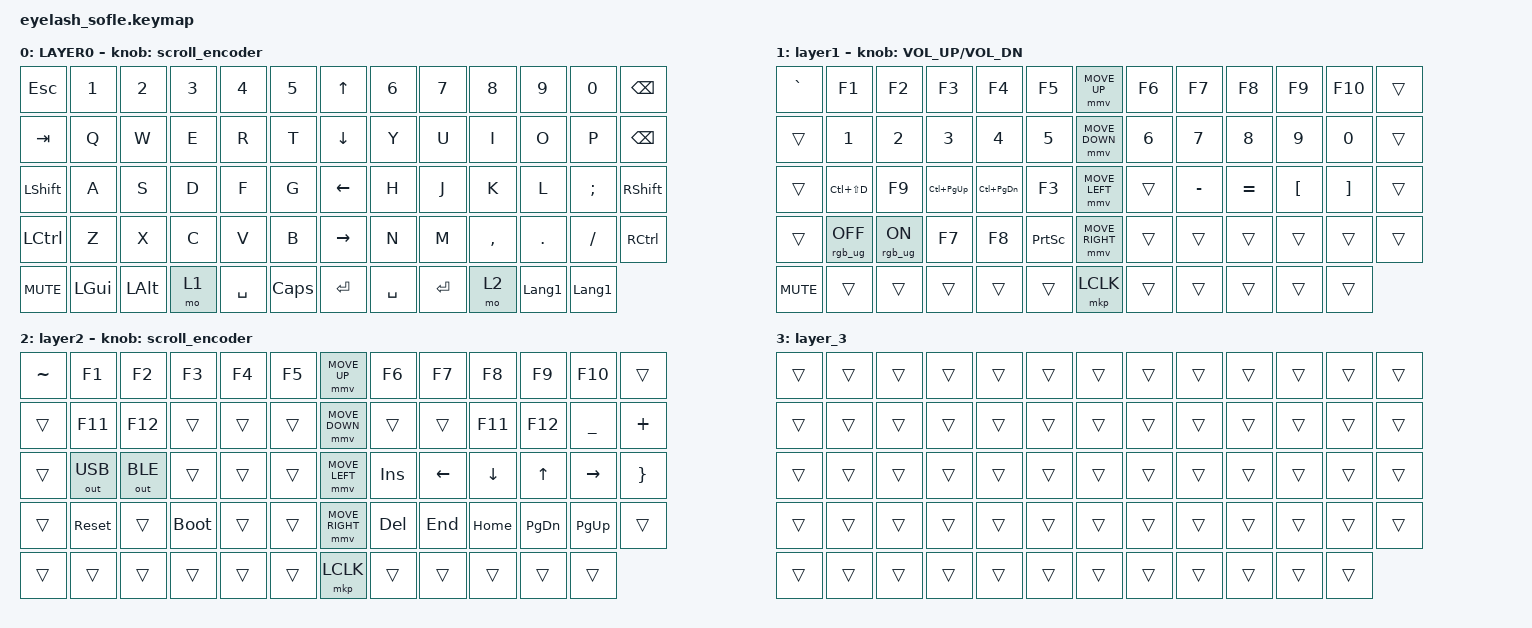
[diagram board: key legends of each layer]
#define ZMK_POINTING_DEFAULT_MOVE_VAL 1200  // 600
#define ZMK_POINTING_DEFAULT_SCRL_VAL 35    // 10

#include <input/processors.dtsi>
#include <zephyr/dt-bindings/input/input-event-codes.h>
#include <behaviors.dtsi>
#include <dt-bindings/zmk/keys.h>
#include <dt-bindings/zmk/outputs.h>
#include <dt-bindings/zmk/pointing.h>
#include <dt-bindings/zmk/rgb.h>

/ {
    zip_scroll_scaler: zip_scroll_scaler {
        compatible = "zmk,input-processor-scaler";
        #input-processor-cells = <2>;
        type = <INPUT_EV_REL>;
        codes = <INPUT_REL_WHEEL INPUT_REL_HWHEEL>;
        track-remainders;
    };
};

&mmv_input_listener { input-processors = <&zip_xy_scaler 2 1>; };

&msc_input_listener { input-processors = <&zip_scroll_scaler 2 1>; };

&msc {
    acceleration-exponent = <0>;      // 0
    time-to-max-speed-ms = <0>;       // 300
    delay-ms = <0>;                   // 0
};

&mmv {
    time-to-max-speed-ms = <400>;
    acceleration-exponent = <1>;
};

/ {
    scroll_encoder: scroll_encoder {
        compatible = "zmk,behavior-sensor-rotate";
        #sensor-binding-cells = <0>;
        bindings = <&msc SCRL_DOWN>, <&msc SCRL_UP>;

        tap-ms = <100>;
    };

    macros {
        shift_MB3: shift_MB3 {
            compatible = "zmk,behavior-macro";
            #binding-cells = <0>;
            bindings =
                <&macro_press>,
                <&kp LEFT_SHIFT>,
                <&macro_press>,
                <&mkp MB3>,
                <&macro_pause_for_release>,
                <&macro_release>,
                <&mkp MB3 &kp LEFT_SHIFT>;

            label = "SHIFT_MB3";
        };
    };

    behaviors {
    };

    combos {
        compatible = "zmk,combos";

        apostrophe {
            bindings = <&kp SQT>;
            key-positions = <48 49>;
        };
    };

    keymap {
        compatible = "zmk,keymap";

        layer0 {
            bindings = <
&kp ESC           &kp N1        &kp N2        &kp N3  &kp N4     &kp N5          &kp UP_ARROW     &kp N6     &kp N7     &kp N8     &kp N9          &kp N0          &kp BACKSPACE
&kp TAB           &kp Q         &kp W         &kp E   &kp R      &kp T           &kp DOWN_ARROW   &kp Y      &kp U      &kp I      &kp O           &kp P           &kp BACKSPACE
&kp LEFT_SHIFT    &kp A         &kp S         &kp D   &kp F      &kp G           &kp LEFT_ARROW   &kp H      &kp J      &kp K      &kp L           &kp SEMI        &kp RIGHT_SHIFT
&kp LEFT_CONTROL  &kp Z         &kp X         &kp C   &kp V      &kp B           &kp RIGHT_ARROW  &kp N      &kp M      &kp COMMA  &kp DOT         &kp FSLH        &kp RCTRL
&kp C_MUTE        &kp LEFT_GUI  &kp LEFT_ALT  &mo 1   &kp SPACE  &kp CAPSLOCK    &kp ENTER        &kp SPACE  &kp ENTER  &mo 2      &kp LANGUAGE_1  &kp LANGUAGE_1
            >;

            sensor-bindings = <&scroll_encoder>;
            display-name = "LAYER0";
        };

        layer_1 {
            bindings = <
&kp GRAVE   &kp F1           &kp F2          &kp F3         &kp F4             &kp F5             &mmv MOVE_UP     &kp F6        &kp F7     &kp F8     &kp F9            &kp F10            &trans
&trans      &kp NUMBER_1     &kp NUMBER_2    &kp NUMBER_3   &kp NUMBER_4       &kp N5             &mmv MOVE_DOWN   &kp NUMBER_6  &kp N7     &kp N8     &kp N9            &kp N0             &trans
&trans      &kp LC(LS(D))    &kp F9          &kp LC(PG_UP)  &kp LC(PAGE_DOWN)  &kp F3             &mmv MOVE_LEFT   &trans        &kp MINUS  &kp EQUAL  &kp LEFT_BRACKET  &kp RIGHT_BRACKET  &trans
&trans      &rgb_ug RGB_OFF  &rgb_ug RGB_ON  &kp F7         &kp F8             &kp PRINTSCREEN    &mmv MOVE_RIGHT  &trans        &trans     &trans     &trans            &trans             &trans
&kp C_MUTE  &trans           &trans          &trans         &trans             &trans             &mkp LCLK        &trans        &trans     &trans     &trans            &trans
            >;

            display-name = "layer1";
            sensor-bindings = <&inc_dec_kp C_VOLUME_UP C_VOL_DN>;
        };

        layer_2 {
            bindings = <
&kp TILDE  &kp F1        &kp F2        &kp F3       &kp F4  &kp F5    &mmv MOVE_UP     &kp F6      &kp F7          &kp F8          &kp F9         &kp F10          &trans
&trans     &kp F11       &kp F12       &trans       &trans  &trans    &mmv MOVE_DOWN   &trans      &trans          &kp F11         &kp F12        &kp UNDER        &kp PLUS
&trans     &out OUT_USB  &out OUT_BLE  &trans       &trans  &trans    &mmv MOVE_LEFT   &kp INS     &kp LEFT_ARROW  &kp DOWN_ARROW  &kp UP_ARROW   &kp RIGHT_ARROW  &kp RBRC
&trans     &sys_reset    &trans        &bootloader  &trans  &trans    &mmv MOVE_RIGHT  &kp DELETE  &kp END         &kp HOME        &kp PAGE_DOWN  &kp PAGE_UP      &trans
&trans     &trans        &trans        &trans       &trans  &trans    &mkp LCLK        &trans      &trans          &trans          &trans         &trans
            >;

            sensor-bindings = <&scroll_encoder>;
            label = "layer2";
        };

        layer_3 {
            bindings = <
&trans  &trans  &trans  &trans  &trans  &trans    &trans  &trans  &trans  &trans  &trans  &trans  &trans
&trans  &trans  &trans  &trans  &trans  &trans    &trans  &trans  &trans  &trans  &trans  &trans  &trans
&trans  &trans  &trans  &trans  &trans  &trans    &trans  &trans  &trans  &trans  &trans  &trans  &trans
&trans  &trans  &trans  &trans  &trans  &trans    &trans  &trans  &trans  &trans  &trans  &trans  &trans
&trans  &trans  &trans  &trans  &trans  &trans    &trans  &trans  &trans  &trans  &trans  &trans
            >;
        };
    };
};
